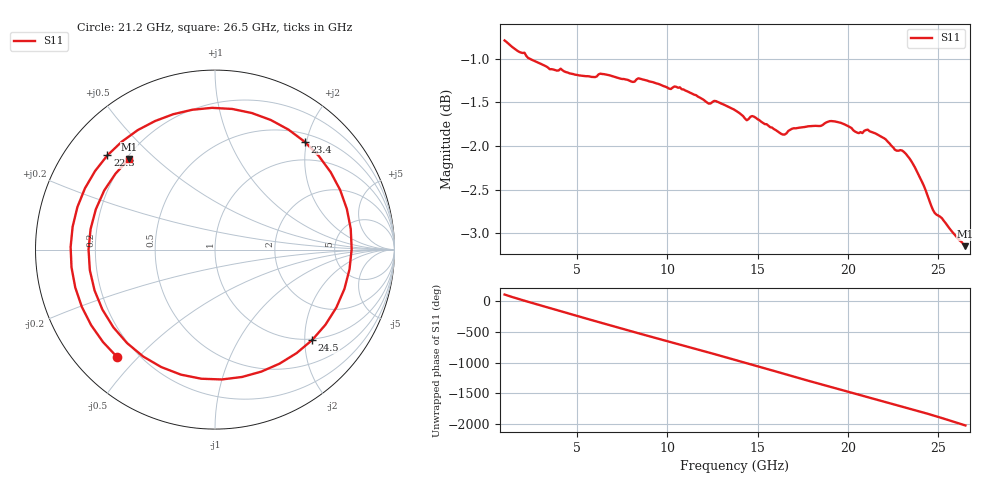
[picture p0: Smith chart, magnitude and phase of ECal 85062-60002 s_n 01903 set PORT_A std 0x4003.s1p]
!Created with skrf (http://scikit-rf.org).
# Hz S RI R 50.0
!freq ReS11 ImS11
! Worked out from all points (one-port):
!   256 points, 1 GHz to 26.5 GHz, reference 50 ohm
!   lowest |S11| = -3.1 dB at 26.5 GHz (marker M1), VSWR 5.58, Z = 10.6 + j20.7 ohm
!   |S11| at or under -10 dB: nowhere
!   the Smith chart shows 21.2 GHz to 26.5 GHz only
!   S11 on the Smith chart (normalised r, x): 21.2 GHz: 0.13, -0.44; 22.3 GHz: 0.13, +0.37; 23.4 GHz: 0.64, +1.96; 24.5 GHz: 0.97, -2.17; 26.5 GHz: 0.21, +0.41
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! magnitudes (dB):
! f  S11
! 1 GHz  -0.8
! 3.5 GHz  -1.1
! 4.2 GHz  -1.1
! 5.1 GHz  -1.2
! 6 GHz  -1.2
! 6.3 GHz  -1.2
! 7.4 GHz  -1.2
! 8.1 GHz  -1.3
! 8.4 GHz  -1.2
! 10.1 GHz  -1.3
! 10.6 GHz  -1.3
! 12.3 GHz  -1.5
! 12.7 GHz  -1.5
! 13.8 GHz  -1.6
! 14.4 GHz  -1.7
! 14.8 GHz  -1.7
! 16.4 GHz  -1.9
! 17 GHz  -1.8
! 19.1 GHz  -1.7
! 20.2 GHz  -1.8
! 20.6 GHz  -1.9
! 21.2 GHz  -1.8
! 22.3 GHz  -2.0
! 23.4 GHz  -2.1
! 24 GHz  -2.4
! 24.5 GHz  -2.6
! 24.8 GHz  -2.8
! 26.5 GHz  -3.1
